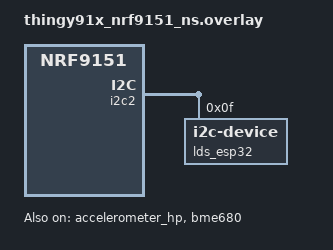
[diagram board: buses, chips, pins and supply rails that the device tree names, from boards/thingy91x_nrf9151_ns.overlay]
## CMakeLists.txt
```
#
# Copyright (c) 2026 Nordic Semiconductor ASA
#
# SPDX-License-Identifier: LicenseRef-Nordic-5-Clause
#

cmake_minimum_required(VERSION 3.20.0)

find_package(Zephyr REQUIRED HINTS $ENV{ZEPHYR_BASE})
project(app)

target_sources(app PRIVATE src/main.c
    src/modules/common/app_events.c
    src/modules/common/app_zbus.c
    src/modules/core/app_sm.c
    src/modules/gnss/gnss_logic.c
    src/modules/gnss/gnss_service.c
    src/modules/lte/lte_logic.c
    src/modules/lte/lte_service.c
    src/modules/modem/modem_logic.c
    src/modules/modem/modem_service.c
    src/modules/ntn/ntn_logic.c
    src/modules/ntn/ntn_service.c
    src/modules/rsrp/rsrp_monitor.c
    src/modules/rsrp/rsrp_parse.c
    src/modules/rsrp/rsrp_service.c
    src/modules/sensors/accel_logic.c
    src/modules/sensors/batt_logic.c
    src/modules/location/location_service.c
    src/modules/cloud/cloud_service.c
)


target_include_directories(app PRIVATE
    src/modules/common
    src/modules/core
    src/modules/field_log
    src/modules/gnss
    src/modules/lte
    src/modules/modem
    src/modules/ntn
    src/modules/rsrp
    src/modules/location
    src/modules/cloud
    src/modules/sensors
)

if(CONFIG_APP_SENSOR_ACCEL_DEMO)
    target_sources(app PRIVATE src/modules/sensors/accel.c)
endif()

if(CONFIG_APP_SENSOR_BATT_DEMO)
    target_sources(app PRIVATE src/modules/sensors/batt.c)
endif()

if(CONFIG_APP_SENSOR_TEMP_DEMO)
    target_sources(app PRIVATE src/modules/sensors/temp.c)
endif()

if(CONFIG_APP_FIELD_LOG)
    target_sources(app PRIVATE src/modules/field_log/field_log.c)
endif()
```

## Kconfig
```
#
# Copyright (c) 2024 Nordic Semiconductor ASA
#
# SPDX-License-Identifier: LicenseRef-Nordic-5-Clause
#

source "Kconfig.zephyr"

menu "LTEM-NTN Fallback Testbench"

# state machine config (can be board specific)
config APP_GNSS_TIMEOUT_SEC
    int "GNSS timeout in seconds"
    default 120
    range 1 600
    help
      Timeout for GNSS acquisition before continuing. Assisted GNSS can still
      need more than 30 seconds outdoors, especially after a cold start or when
      the antenna view is marginal.

config APP_FORCE_ASSISTED_GNSS_FOR_NTN
    bool "Force assisted GNSS for NTN pre-acquire"
    default n
    help
      Use assisted GNSS for NTN pre-acquire during field testing.

config APP_MODEM_SIGNAL_POLL_INTERVAL_SEC
    int "LTE-M signal poll interval in seconds"
    default 5
    range 1 3600
    help
      Interval used by the modem service when sampling LTE-M RSRP while the
      asset is moving.

config APP_MODEM_SIGNAL_POLL_INTERVAL_STILL_SEC
    int "LTE-M signal poll interval while stationary in seconds"
    default 30
    range 1 3600
    help
      Interval used by the modem service when the accelerometer reports that
      the asset is standing still, or before any valid motion hint is available.

config APP_MODEM_RSRP_FALLBACK_DBM
    int "LTE-M RSRP threshold for NTN fallback"
    default -120
    range -140 -44
    help
      When the measured LTE-M RSRP is at or below this level and continues
      to worsen, the modem service requests NTN fallback.

config APP_MODEM_RSRP_RECOVERY_DBM
    int "NTN->LTE recovery threshold"
    default -110
    range -130 -10
    help
      When LTE-M RSRP is showing signs of improving this value
      decides if it should return to LTE-M-Connetion or not.

config APP_MODEM_RSRP_DROP_DB
    int "LTE-M RSRP drop needed to treat the trend as degrading"
    default 5
    range 1 40
    help
      Minimum drop in dB used by the modem service when deciding that the
      LTE-M signal is degrading toward an NTN fallback.

config APP_MODEM_RSRP_LOSS_SAMPLE_COUNT
    int "Unavailable LTE-M RSRP samples before NTN fallback"
    default 3
    range 1 20
    help
      Number of consecutive failed or unknown RSRP samples needed before the
      modem service treats LTE-M as lost and requests NTN fallback. This avoids
      switching RAT because of one temporary AT command or modem measurement
      failure.

config APP_MODEM_RSRP_WEAK_SAMPLE_COUNT
    int "Weak LTE-M RSRP samples before NTN fallback"
    default 3
    range 1 20
    help
      Number of consecutive valid RSRP samples at or below the fallback
      threshold needed before the modem service requests NTN fallback, even if
      the signal is not actively dropping anymore.

config APP_LTE_BANDLOCK_AT_CMD
    string "LTE bandlock AT command"
    default ""
    help
      Optional AT command sent before LTE connect, e.g. AT%XBANDLOCK=...
      Leave empty to disable bandlock.

config APP_SENSOR_ACCEL_DEMO
    bool "Enable accelerometer demo"
    default y if BOARD_THINGY91X_NRF9151_NS
    default n
    help
      Build the BMI270 accelerometer demo and motion-hint generation.
      Enable this on boards that actually provide a compatible accelerometer.

config APP_SENSOR_ACCEL_MOVING_HOLD_MS
    int "Accelerometer moving hold time in milliseconds"
    default 60000
    range 0 600000
    depends on APP_SENSOR_ACCEL_DEMO
    help
      Keep reporting moving for this long after the last clear acceleration or
      velocity event. This helps smooth vehicle movement keep the faster RSRP
      polling interval even when acceleration is temporarily quiet.

config APP_SENSOR_BATT_DEMO
    bool "Enable battery demo"
    default y if BOARD_THINGY91X_NRF9151_NS
    default n
    help
      Build the nPM1300 battery/charger demo.
      Enable this on boards that actually provide compatible battery hardware.

config APP_SENSOR_TEMP_DEMO
    bool "Enable temperature demo"
    default y if BOARD_THINGY91X_NRF9151_NS
    default n
    help
      Build the BME680 environmental sensor demo.
      Enable this on boards that actually provide a compatible temperature sensor.

config APP_FIELD_LOG
    bool "Enable compact field log"
    default y if APP_SENSOR_BATT_DEMO
    depends on APP_SENSOR_BATT_DEMO
    depends on FLASH
    select FLASH_MAP
    select FLASH_PAGE_LAYOUT
    help
      Build a compact field log for field testing. The logger stores state
      transitions with the best known location and periodic summary records
      in external flash, then exposes them through the serial shell.

config APP_FIELD_LOG_SUMMARY_INTERVAL_SEC
    int "Field log summary interval in seconds"
    default 600
    range 60 3600
    depends on APP_FIELD_LOG
    help
      Interval between summary records.

config APP_FIELD_LOG_STORAGE_BYTES
    int "Field log storage budget in bytes"
    default 16384
    range 4096 1048576
    depends on APP_FIELD_LOG
    help
      Number of bytes reserved from the generated external_flash partition for
      the field log.

config APP_FIELD_LOG_ERASE_BLOCK_SIZE
    int "Field log erase block size"
    default 4096
    range 4096 65536
    depends on APP_FIELD_LOG
    help
      Erase block size used by the external flash device. The Thingy:91 X
      external NOR flash uses 4096-byte erase sectors.

config APP_FIELD_LOG_ERASE_ON_BOOT
    bool "Erase field log storage on boot"
    depends on APP_FIELD_LOG
    help
      Erase the configured field log storage area during startup. This is
      useful during debugging but should be left disabled for field testing.

config APP_FIELD_LOG_SHELL
    bool "Enable field log shell commands"
    default y
    depends on APP_FIELD_LOG
    select SHELL
    select SHELL_BACKEND_SERIAL
    help
      Enable the fieldlog shell command group with info, dump and erase
      commands over the serial shell.

config APP_FIELD_LOG_CONN_EVAL
    bool "Log LTE conn eval samples in field log"
    default y
    depends on APP_FIELD_LOG
    help
      Store LTE connection evaluation metrics as separate field log records.

config APP_CORE_SEND_UDP_DATA
    bool "Send UDP data over NTN"
    help
      Enable UDP sending in the NTN module.

config APP_CORE_SM_PROBE_TEST
    bool "Start dry run for LTE-PROBE"
    help
      Enable LTE-Probe dry run.

config APP_MAX_NTN_RETRIES
    int "Set maximum retry connection attempts for NTN"
    default 3
    help
      Set NTN retries.

config APP_NTN_CONNECT_TIMEOUT_SEC
    int "NTN attach timeout in seconds"
    default 180
    range 30 1800
    help
      Maximum time to wait for NTN attach/registration before retrying.

config APP_MAX_LTEM_RETRIES
    int "Set maximum retry connection attempts for LTEM"
    default 3
    help
      Set LTEM retries.


endmenu


menu "APP Debug Options"

config APP_DEBUG
  bool "Enable debug features"
  default n

config APP_DEBUG_BOOT
  bool "Halt in boot state after initalization"
  depends on APP_DEBUG
  default n
  help 
    Run boot_entry(), but do not transistion out of STATE_BOOT
    when EVT_BOOT is received 

config APP_DEBUG_LTE_CONNECTING
  bool "Halt after LTE registration"
  depends on APP_DEBUG
  default n
  help 
    Allow LTE attach to complete, then stop before transistioning
    STATE_LTEM_CONNECTED

config APP_DEBUG_CLOUD_CONNECTING
  bool "Halt after cloud connection"
  depends on APP_DEBUG
  default n
  help 
    Stop after cloud connection returns success, failure or disconnect,
    instead of continuing to later stages. 

config APP_DEBUG_LTE_LOCATION
  bool "Halt after LTE location result"
  depends on APP_DEBUG
  default n
  help 
    Stop after LTE cellular location returns sucess, failure or timeout, 
    instead of continuing to later stages

config APP_DEBUG_NTN
  bool "Add additional modem info"
  depends on APP_DEBUG
  default n
  help 
    Verbose info from modem

config APP_DEBUG_CORE_UDP_BURST_TEST
  bool "Test burst UDP send function"
  depends on APP_DEBUG
  default n
  help
    Debug UDP burst send

    
  config APP_DEBUG_GNSS_ACQUIRE
  bool "Halt after GNSS result"
  depends on APP_DEBUG
  default n
  help 
    Stop after GNSS returns success or timeout
    instead of continuing to later stages
endmenu
```

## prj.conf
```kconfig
#
# Copyright (c) 2026 Nordic Semiconductor ASA
#
# SPDX-License-Identifier: LicenseRef-Nordic-5-Clause
#

# custom config
CONFIG_APP_DEBUG=y
CONFIG_APP_DEBUG_BOOT=n
CONFIG_APP_DEBUG_LTE_CONNECTING=n
CONFIG_APP_DEBUG_CLOUD_CONNECTING=n
CONFIG_APP_DEBUG_LTE_LOCATION=n
CONFIG_APP_DEBUG_GNSS_ACQUIRE=n

# temporary avoid stack overflow
CONFIG_SYSTEM_WORKQUEUE_STACK_SIZE=8192

# debug
CONFIG_LOG=y
CONFIG_LOG_DEFAULT_LEVEL=3
CONFIG_PRINTK=y
CONFIG_AT_HOST_LIBRARY=n # expose AT-command with serial interface


# fallback
CONFIG_APP_MODEM_RSRP_RECOVERY_DBM=-120
CONFIG_APP_GNSS_TIMEOUT_SEC=120

# structure
CONFIG_SMF=y
CONFIG_SMF_ANCESTOR_SUPPORT=y
CONFIG_ZBUS=y
CONFIG_SENSOR=y
CONFIG_ZBUS_MSG_SUBSCRIBER=y
CONFIG_ZBUS_CHANNEL_NAME=y
CONFIG_ZBUS_OBSERVER_NAME=y
CONFIG_ZBUS_MSG_SUBSCRIBER_NET_BUF_POOL_SIZE=16
CONFIG_HEAP_MEM_POOL_SIZE=16384

# location
CONFIG_LOCATION=y
CONFIG_LOCATION_METHOD_CELLULAR=y
CONFIG_LOCATION_METHODS_LIST_SIZE=2
CONFIG_LOCATION_SERVICE_NRF_CLOUD=y

# cloud
CONFIG_NRF_CLOUD=y
CONFIG_NRF_CLOUD_MQTT=y
CONFIG_NRF_CLOUD_AGNSS=y
CONFIG_NRF_CLOUD_CLIENT_ID_SRC_IMEI=n
CONFIG_NRF_CLOUD_CLIENT_ID_SRC_INTERNAL_UUID=y
CONFIG_MODEM_JWT=y

# modem
CONFIG_NRF_MODEM_LIB=y
CONFIG_LTE_LINK_CONTROL=y
CONFIG_LTE_LC_PDN_MODULE=y
CONFIG_LTE_LC_CELLULAR_PROFILE_MODULE=y
CONFIG_LTE_LC_CONN_EVAL_MODULE=y
CONFIG_AT_MONITOR_HEAP_SIZE=1024
CONFIG_NTN=y
CONFIG_MODEM_INFO=y
CONFIG_MODEM_INFO_ADD_NETWORK=y

# for sending udp
CONFIG_NETWORKING=y
CONFIG_NET_SOCKETS=y
CONFIG_NET_SOCKETS_OFFLOAD=y

# sim setup (monogatari)
CONFIG_LTE_LC_PDN_DEFAULTS_OVERRIDE=y
CONFIG_LTE_LC_PDN_DEFAULT_FAM_IPV4=y
CONFIG_LTE_LC_PDN_DEFAULT_APN="data.mono"


#testing
CONFIG_APP_CORE_SEND_UDP_DATA=n
CONFIG_APP_DEBUG_CORE_UDP_BURST_TEST=n
CONFIG_APP_DEBUG_NTN=n

#test LTE-Probe without breaking rest of the application
CONFIG_APP_CORE_SM_PROBE_TEST=n
CONFIG_APP_FORCE_ASSISTED_GNSS_FOR_NTN=n
#test
CONFIG_ASSERT=y
CONFIG_RESET_ON_FATAL_ERROR=n
CONFIG_EXCEPTION_STACK_TRACE=y
CONFIG_THREAD_NAME=y
CONFIG_INIT_STACKS=y
CONFIG_STACK_SENTINEL=y
CONFIG_THREAD_STACK_INFO=y

# bandlock

# for testing only band B3
CONFIG_APP_LTE_BANDLOCK_AT_CMD="AT%XBANDLOCK=2,\"100\""
# alternatives for quick test
#
# No lock:
#AT%XBANDLOCK=0
#
# B3 only:
#AT%XBANDLOCK=2,\"100\"
#AT%XBANDLOCK=2,"100"
#
# B20 only:
#AT%XBANDLOCK=2,"10000000000000000000"
#
# B3 + B20:
#AT%XBANDLOCK=2,"10000000000000000100"
```

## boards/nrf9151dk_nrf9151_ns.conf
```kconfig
#
# Copyright (c) 2026 Nordic Semiconductor ASA
#
# SPDX-License-Identifier: LicenseRef-Nordic-5-Clause
#


# state machine
CONFIG_APP_GNSS_TIMEOUT_SEC=120


# sensor config
CONFIG_APP_SENSOR_BATT_DEMO=n
CONFIG_APP_SENSOR_ACCEL_DEMO=n
```

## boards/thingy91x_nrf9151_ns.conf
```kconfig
#
# Copyright (c) 2025 Nordic Semiconductor ASA
#
# SPDX-License-Identifier: LicenseRef-Nordic-5-Clause
#



#sensor config
CONFIG_APP_SENSOR_BATT_DEMO=y
CONFIG_APP_SENSOR_ACCEL_DEMO=y

# field log
CONFIG_APP_FIELD_LOG=y
CONFIG_APP_FIELD_LOG_SUMMARY_INTERVAL_SEC=600
CONFIG_APP_FIELD_LOG_STORAGE_BYTES=16384
CONFIG_APP_FIELD_LOG_SHELL=y
CONFIG_SHELL=y
CONFIG_SHELL_BACKEND_SERIAL=y   
```

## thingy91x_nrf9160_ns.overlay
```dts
/*
 * SPDX-License-Identifier: LicenseRef-Nordic-5-Clause
 * 
 * Board overlay for Thingy:91 X with NTN support
 */

/* Configure UART for console and AT command interface */
&uart0 {
	status = "okay";
	current-speed = <115200>;
};

/* Configure I2C for sensors (optional for future position tracking) */
&i2c2 {
	status = "okay";
};

/* Configure GPIO for status LEDs */
&gpio0 {
	status = "okay";
};
```

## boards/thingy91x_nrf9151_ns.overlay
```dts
/*
 * Enable the Thingy:91 X onboard sensors used by the app demos.
 */

/ {
	aliases {
		accel0 = &accelerometer_hp;
		lds0 = &lds_esp32;
	};
};

&accelerometer_hp {
	status = "okay";
};

&bme680 {
	status = "okay";
};

&i2c2 {
	lds_esp32: lds@f {
		compatible = "i2c-device";
		reg = <0x0f>;
	};
};
```

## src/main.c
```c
/*
 * Copyright (c) 2026 Nordic Semiconductor ASA
 *
 * SPDX-License-Identifier: LicenseRef-Nordic-5-Clause
 */ 



#include <modem/nrf_modem_lib.h>
#include <nrf_modem_gnss.h>


#include <zephyr/smf.h>
#include <zephyr/sys/printk.h>
#include <modem/lte_lc.h>
#include <modem/ntn.h>

#include <zephyr/kernel.h>
#include <zephyr/logging/log.h>
#include <zephyr/app_version.h>

#include "app_types.h"
#include "app_events.h"
#include "app_sm.h"

#if defined(CONFIG_APP_FIELD_LOG)
#include "field_log.h"
#endif

#if defined(CONFIG_APP_LDS)
#include "lds_service.h"
#endif


#if defined(CONFIG_APP_SENSOR_ACCEL_DEMO)
#include "accel.h"
#endif


LOG_MODULE_REGISTER(app, LOG_LEVEL_INF);




int main(void)
{
    static struct app_ctx ctx;
#if defined(CONFIG_APP_FIELD_LOG) || defined(CONFIG_APP_LDS)
    int err;
#endif

#if defined(CONFIG_APP_FIELD_LOG)
    err = field_log_start();

    if (err) {
        LOG_WRN("field_log_start failed: %d", err);
    }
#endif

#if defined(CONFIG_APP_LDS)
    err = lds_service_start();
    if (err) {
        LOG_WRN("lds_service_start failed: %d", err);
    }
#endif

    app_sm_start(&ctx);

    struct app_event boot = { .type = EVT_BOOT };

    app_event_put(&boot, K_NO_WAIT);

    LOG_INF("Firmware version: %s", APP_VERSION_STRING);

#if defined(CONFIG_APP_SENSOR_ACCEL_DEMO)
    accel_start();
#endif

    while (1) {
        k_sleep(K_SECONDS(60));
    }

    return 0;
}
```
